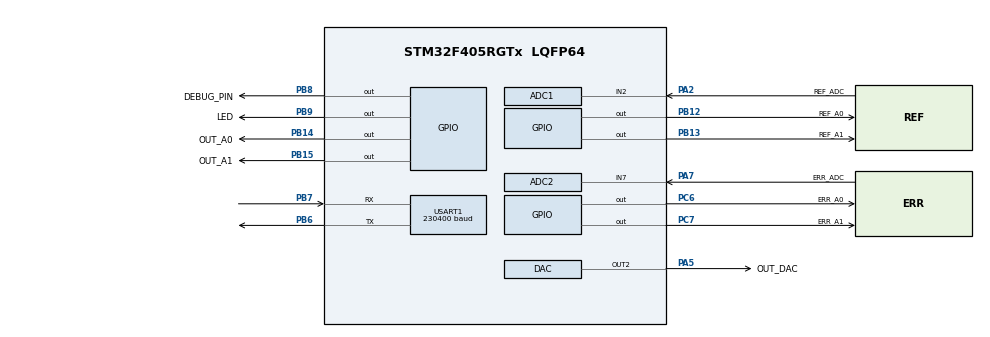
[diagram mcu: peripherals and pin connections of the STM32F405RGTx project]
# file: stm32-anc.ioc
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ADC1.Channel-0\#ChannelRegularConversion=ADC_CHANNEL_2
ADC1.ClockPrescaler=ADC_CLOCK_SYNC_PCLK_DIV8
ADC1.ExternalTrigConv=ADC_EXTERNALTRIGCONV_T2_TRGO
ADC1.NbrOfConversionFlag=1
ADC1.Rank-0\#ChannelRegularConversion=1
ADC1.SamplingTime-0\#ChannelRegularConversion=ADC_SAMPLETIME_112CYCLES
ADC1.master=1
ADC2.Channel-0\#ChannelRegularConversion=ADC_CHANNEL_7
ADC2.ClockPrescaler=ADC_CLOCK_SYNC_PCLK_DIV8
ADC2.ExternalTrigConv=ADC_EXTERNALTRIGCONV_T2_TRGO
ADC2.NbrOfConversionFlag=1
ADC2.Rank-0\#ChannelRegularConversion=1
ADC2.SamplingTime-0\#ChannelRegularConversion=ADC_SAMPLETIME_112CYCLES
DAC.DAC_Trigger2=DAC_TRIGGER_T2_TRGO
Dma.ADC1.0.Direction=DMA_PERIPH_TO_MEMORY
Dma.ADC1.0.FIFOMode=DMA_FIFOMODE_DISABLE
Dma.ADC1.0.Instance=DMA2_Stream0
Dma.ADC1.0.MemDataAlignment=DMA_MDATAALIGN_HALFWORD
Dma.ADC1.0.MemInc=DMA_MINC_ENABLE
Dma.ADC1.0.Mode=DMA_CIRCULAR
Dma.ADC1.0.PeriphDataAlignment=DMA_PDATAALIGN_HALFWORD
Dma.ADC1.0.PeriphInc=DMA_PINC_DISABLE
Dma.ADC1.0.Priority=DMA_PRIORITY_HIGH
Dma.ADC2.1.Direction=DMA_PERIPH_TO_MEMORY
Dma.ADC2.1.FIFOMode=DMA_FIFOMODE_DISABLE
Dma.ADC2.1.Instance=DMA2_Stream2
Dma.ADC2.1.MemDataAlignment=DMA_MDATAALIGN_HALFWORD
Dma.ADC2.1.MemInc=DMA_MINC_ENABLE
Dma.ADC2.1.Mode=DMA_CIRCULAR
Dma.ADC2.1.PeriphDataAlignment=DMA_PDATAALIGN_HALFWORD
Dma.ADC2.1.PeriphInc=DMA_PINC_DISABLE
Dma.ADC2.1.Priority=DMA_PRIORITY_HIGH
Dma.DAC2.2.Direction=DMA_MEMORY_TO_PERIPH
Dma.DAC2.2.FIFOMode=DMA_FIFOMODE_DISABLE
Dma.DAC2.2.Instance=DMA1_Stream6
Dma.DAC2.2.MemDataAlignment=DMA_MDATAALIGN_HALFWORD
Dma.DAC2.2.MemInc=DMA_MINC_ENABLE
Dma.DAC2.2.Mode=DMA_CIRCULAR
Dma.DAC2.2.PeriphDataAlignment=DMA_PDATAALIGN_HALFWORD
Dma.DAC2.2.PeriphInc=DMA_PINC_DISABLE
Dma.DAC2.2.Priority=DMA_PRIORITY_HIGH
Dma.MEMTOMEM.5.Direction=DMA_MEMORY_TO_MEMORY
Dma.MEMTOMEM.5.FIFOMode=DMA_FIFOMODE_ENABLE
Dma.MEMTOMEM.5.FIFOThreshold=DMA_FIFO_THRESHOLD_FULL
Dma.MEMTOMEM.5.Instance=DMA2_Stream1
Dma.MEMTOMEM.5.MemBurst=DMA_MBURST_SINGLE
Dma.MEMTOMEM.5.MemDataAlignment=DMA_MDATAALIGN_BYTE
Dma.MEMTOMEM.5.MemInc=DMA_MINC_ENABLE
Dma.MEMTOMEM.5.Mode=DMA_NORMAL
Dma.MEMTOMEM.5.PeriphBurst=DMA_PBURST_SINGLE
Dma.MEMTOMEM.5.PeriphDataAlignment=DMA_PDATAALIGN_BYTE
Dma.MEMTOMEM.5.PeriphInc=DMA_PINC_ENABLE
Dma.MEMTOMEM.5.Priority=DMA_PRIORITY_LOW
Dma.MEMTOMEM.6.Direction=DMA_MEMORY_TO_MEMORY
Dma.MEMTOMEM.6.FIFOMode=DMA_FIFOMODE_ENABLE
Dma.MEMTOMEM.6.FIFOThreshold=DMA_FIFO_THRESHOLD_FULL
Dma.MEMTOMEM.6.Instance=DMA2_Stream3
Dma.MEMTOMEM.6.MemBurst=DMA_MBURST_SINGLE
Dma.MEMTOMEM.6.MemDataAlignment=DMA_MDATAALIGN_BYTE
Dma.MEMTOMEM.6.MemInc=DMA_MINC_ENABLE
Dma.MEMTOMEM.6.Mode=DMA_NORMAL
Dma.MEMTOMEM.6.PeriphBurst=DMA_PBURST_SINGLE
Dma.MEMTOMEM.6.PeriphDataAlignment=DMA_PDATAALIGN_BYTE
Dma.MEMTOMEM.6.PeriphInc=DMA_PINC_ENABLE
Dma.MEMTOMEM.6.Priority=DMA_PRIORITY_LOW
Dma.Request0=ADC1
Dma.Request1=ADC2
Dma.Request2=DAC2
Dma.Request3=USART1_TX
Dma.Request4=USART1_RX
Dma.Request5=MEMTOMEM
Dma.Request6=MEMTOMEM
Dma.USART1_RX.4.Direction=DMA_PERIPH_TO_MEMORY
Dma.USART1_RX.4.FIFOMode=DMA_FIFOMODE_DISABLE
Dma.USART1_RX.4.Instance=DMA2_Stream5
Dma.USART1_RX.4.MemDataAlignment=DMA_MDATAALIGN_BYTE
Dma.USART1_RX.4.MemInc=DMA_MINC_ENABLE
Dma.USART1_RX.4.Mode=DMA_NORMAL
Dma.USART1_RX.4.PeriphDataAlignment=DMA_PDATAALIGN_BYTE
Dma.USART1_RX.4.PeriphInc=DMA_PINC_DISABLE
Dma.USART1_RX.4.Priority=DMA_PRIORITY_MEDIUM
Dma.USART1_TX.3.Direction=DMA_MEMORY_TO_PERIPH
Dma.USART1_TX.3.FIFOMode=DMA_FIFOMODE_DISABLE
Dma.USART1_TX.3.Instance=DMA2_Stream7
Dma.USART1_TX.3.MemDataAlignment=DMA_MDATAALIGN_BYTE
Dma.USART1_TX.3.MemInc=DMA_MINC_ENABLE
Dma.USART1_TX.3.Mode=DMA_NORMAL
Dma.USART1_TX.3.PeriphDataAlignment=DMA_PDATAALIGN_BYTE
Dma.USART1_TX.3.PeriphInc=DMA_PINC_DISABLE
Dma.USART1_TX.3.Priority=DMA_PRIORITY_HIGH
Mcu.Family=STM32F4
Mcu.Name=STM32F405RGTx
Mcu.Package=LQFP64
NVIC.DMA1_Stream6_IRQn=true\:0\:0\:false\:false\:true\:false\:true
NVIC.DMA2_Stream0_IRQn=true\:0\:0\:false\:false\:true\:false\:true
NVIC.DMA2_Stream1_IRQn=true\:0\:0\:false\:false\:true\:true\:true
NVIC.DMA2_Stream2_IRQn=true\:0\:0\:false\:false\:true\:false\:true
NVIC.DMA2_Stream3_IRQn=true\:0\:0\:false\:false\:true\:true\:true
NVIC.DMA2_Stream5_IRQn=true\:0\:0\:false\:false\:true\:false\:true
NVIC.DMA2_Stream7_IRQn=true\:1\:0\:true\:false\:true\:false\:true
NVIC.PriorityGroup=NVIC_PRIORITYGROUP_4
NVIC.USART1_IRQn=true\:2\:0\:true\:false\:true\:true\:true
PA13.Mode=Trace_Asynchronous_SW
PA13.Signal=SYS_JTMS-SWDIO
PA14.Mode=Trace_Asynchronous_SW
PA14.Signal=SYS_JTCK-SWCLK
PA2.GPIO_Label=REF_ADC
PA2.Signal=ADCx_IN2
PA5.GPIO_Label=OUT_DAC
PA5.Signal=COMP_DAC2_group
PA7.GPIO_Label=ERR_ADC
PA7.Signal=ADCx_IN7
PB12.GPIO_Label=REF_A0
PB12.GPIO_Speed=GPIO_SPEED_FREQ_HIGH
PB12.Signal=GPIO_Output
PB13.GPIO_Label=REF_A1
PB13.GPIO_Speed=GPIO_SPEED_FREQ_HIGH
PB13.Signal=GPIO_Output
PB14.GPIO_Label=OUT_A0
PB14.GPIO_Speed=GPIO_SPEED_FREQ_HIGH
PB14.Signal=GPIO_Output
PB15.GPIO_Label=OUT_A1
PB15.GPIO_Speed=GPIO_SPEED_FREQ_HIGH
PB15.Signal=GPIO_Output
PB3.Mode=Trace_Asynchronous_SW
PB3.Signal=SYS_JTDO-SWO
PB6.Mode=Asynchronous
PB6.Signal=USART1_TX
PB7.Mode=Asynchronous
PB7.Signal=USART1_RX
PB8.GPIO_Label=DEBUG_PIN
PB8.GPIO_Speed=GPIO_SPEED_FREQ_HIGH
PB8.Signal=GPIO_Output
PB9.GPIO_Label=LED
PB9.Signal=GPIO_Output
PC6.GPIO_Label=ERR_A0
PC6.GPIO_Speed=GPIO_SPEED_FREQ_HIGH
PC6.Signal=GPIO_Output
PC7.GPIO_Label=ERR_A1
PC7.GPIO_Speed=GPIO_SPEED_FREQ_HIGH
PC7.Signal=GPIO_Output
PH0-OSC_IN.Mode=HSE-External-Oscillator
PH0-OSC_IN.Signal=RCC_OSC_IN
PH1-OSC_OUT.Mode=HSE-External-Oscillator
PH1-OSC_OUT.Signal=RCC_OSC_OUT
ProjectManager.HeapSize=0x200
ProjectManager.StackSize=0x400
ProjectManager.TargetToolchain=STM32CubeIDE
RCC.48MHZClocksFreq_Value=84000000
RCC.AHBFreq_Value=168000000
RCC.APB1CLKDivider=RCC_HCLK_DIV4
RCC.APB1Freq_Value=42000000
RCC.APB1TimFreq_Value=84000000
RCC.APB2CLKDivider=RCC_HCLK_DIV16
RCC.APB2Freq_Value=10500000
RCC.APB2TimFreq_Value=21000000
RCC.CortexFreq_Value=168000000
RCC.HCLKFreq_Value=168000000
RCC.HSE_VALUE=16000000
RCC.HSI_VALUE=16000000
RCC.LSE_VALUE=32768
RCC.PLLM=8
RCC.PLLN=168
RCC.PLLSourceVirtual=RCC_PLLSOURCE_HSE
RCC.SYSCLKFreq_VALUE=168000000
RCC.SYSCLKSource=RCC_SYSCLKSOURCE_PLLCLK
RCC.VCOOutputFreq_Value=336000000
SH.ADCx_IN2.0=ADC1_IN2,IN2
SH.ADCx_IN7.0=ADC2_IN7,IN7
SH.COMP_DAC2_group.0=DAC_OUT2,DAC_OUT2
TIM2.Period=4
TIM2.Prescaler=2099
TIM2.TIM_MasterOutputTrigger=TIM_TRGO_UPDATE
TIM3.Period=65535
TIM3.Prescaler=20
USART1.BaudRate=230400
USART1.VirtualMode=VM_ASYNC
VP_TIM2_VS_ClockSourceINT.Mode=Internal
VP_TIM3_VS_ClockSourceINT.Mode=Internal
board=custom

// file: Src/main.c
/* USER CODE BEGIN Header */
/**
  ******************************************************************************
  * @file           : main.c
  * @brief          : Main program body
  ******************************************************************************
  * @attention
  *
  * <h2><center>&copy; Copyright (c) 2020 STMicroelectronics.
  * All rights reserved.</center></h2>
  *
  * This software component is licensed by ST under BSD 3-Clause license,
  * the "License"; You may not use this file except in compliance with the
  * License. You may obtain a copy of the License at:
  *                        opensource.org/licenses/BSD-3-Clause
  *
  ******************************************************************************
  */
/* USER CODE END Header */

#include "main.h"
#include "adc.h"
#include "dac.h"
#include "dma.h"
#include "tim.h"
#include "usart.h"
#include "gpio.h"

/* USER CODE BEGIN Includes */
#include "anc_acquisition.h"
#include "uart_receiver.h"
#include "uart_transmitter.h"
#include "dma_mem2mem.h"
#include "swo_logger.h"
#include "anc_application.h"
#include "performance.h"
/* USER CODE END Includes */

/* USER CODE BEGIN PV */
anc_acquisition_t   AncAcquisition;
uart_receiver_t     UartReceiver;
uart_transmitter_t  UartTransmitter;
dma_mem2mem_t       DmaMem2Mem0;
dma_mem2mem_t       DmaMem2Mem1;
/* USER CODE END PV */

void SystemClock_Config(void);

int main(void)
{

  /* MCU Configuration--------------------------------------------------------*/

  /* Reset of all peripherals, Initializes the Flash interface and the Systick. */

  LL_APB2_GRP1_EnableClock(LL_APB2_GRP1_PERIPH_SYSCFG);
  LL_APB1_GRP1_EnableClock(LL_APB1_GRP1_PERIPH_PWR);

  NVIC_SetPriorityGrouping(NVIC_PRIORITYGROUP_4);

  /* System interrupt init*/

  /* Configure the system clock */
  SystemClock_Config();

  /* Initialize all configured peripherals */
  MX_GPIO_Init();
  MX_DMA_Init();
  MX_ADC1_Init();
  MX_ADC2_Init();
  MX_DAC_Init();
  MX_TIM2_Init();
  MX_USART1_UART_Init();
  MX_TIM3_Init();
  /* USER CODE BEGIN 2 */
  SWO_LOG_INIT();
  anc_acquisition_init(&AncAcquisition);
  uart_receiver_init(&UartReceiver);
  uart_transmitter_init(&UartTransmitter);
  dma_mem2mem_init(&DmaMem2Mem0,
    DMA2, LL_DMA_STREAM_1);
  dma_mem2mem_init(&DmaMem2Mem1,
    DMA2, LL_DMA_STREAM_3);

  performance_start_timer();

  anc_application_init(&AncAcquisition,
    &UartReceiver, &UartTransmitter,
    &DmaMem2Mem0, &DmaMem2Mem1);

  /* Start main application */
  anc_application_start();
  /* USER CODE END 2 */

  /* Infinite loop */
  /* USER CODE BEGIN WHILE */

  /* Control should never be reached here
   * as we've started anc_application.
   */
  while (1)
  {
    /* USER CODE END WHILE */

  }
}

void SystemClock_Config(void)
{
  LL_FLASH_SetLatency(LL_FLASH_LATENCY_5);

  if(LL_FLASH_GetLatency() != LL_FLASH_LATENCY_5)
  {
  Error_Handler();
  }
  LL_PWR_SetRegulVoltageScaling(LL_PWR_REGU_VOLTAGE_SCALE1);
  LL_RCC_HSE_Enable();

   /* Wait till HSE is ready */
  while(LL_RCC_HSE_IsReady() != 1)
  {

  }
  LL_RCC_PLL_ConfigDomain_SYS(LL_RCC_PLLSOURCE_HSE, LL_RCC_PLLM_DIV_8, 168, LL_RCC_PLLP_DIV_2);
  LL_RCC_PLL_Enable();

   /* Wait till PLL is ready */
  while(LL_RCC_PLL_IsReady() != 1)
  {

  }
  LL_RCC_SetAHBPrescaler(LL_RCC_SYSCLK_DIV_1);
  LL_RCC_SetAPB1Prescaler(LL_RCC_APB1_DIV_4);
  LL_RCC_SetAPB2Prescaler(LL_RCC_APB2_DIV_16);
  LL_RCC_SetSysClkSource(LL_RCC_SYS_CLKSOURCE_PLL);

   /* Wait till System clock is ready */
  while(LL_RCC_GetSysClkSource() != LL_RCC_SYS_CLKSOURCE_STATUS_PLL)
  {

  }
  LL_Init1msTick(168000000);
  LL_SYSTICK_SetClkSource(LL_SYSTICK_CLKSOURCE_HCLK);
  LL_SetSystemCoreClock(168000000);
}

void Error_Handler(void)
{
}

/************************ (C) COPYRIGHT STMicroelectronics *****END OF FILE****/
